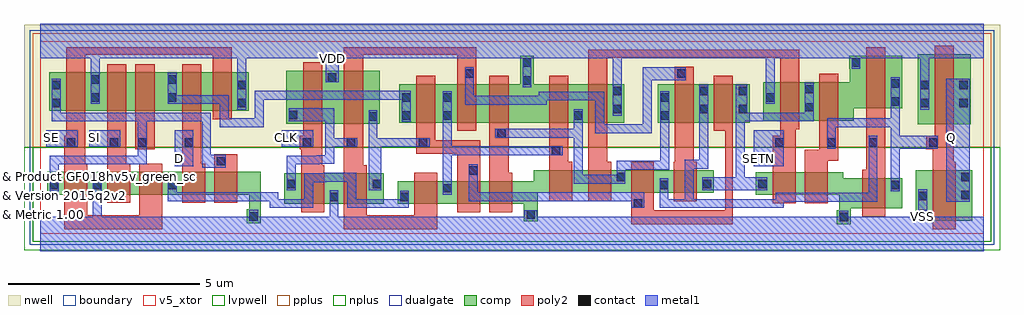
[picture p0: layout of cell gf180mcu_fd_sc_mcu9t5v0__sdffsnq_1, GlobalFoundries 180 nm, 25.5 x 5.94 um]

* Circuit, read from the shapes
.subckt gf180mcu_fd_sc_mcu9t5v0__sdffsnq_1 CLK D Q SE SETN SI VDD VSS
XM1 VSS SE n1 VSUBS nfet_05v0 w=0.59u l=0.6u
XM2 n2 SI VSS VSUBS nfet_05v0 w=0.59u l=0.6u
XM3 n3 SE n2 VSUBS nfet_05v0 w=0.59u l=0.6u
XM4 n4 D n3 VSUBS nfet_05v0 w=0.59u l=0.6u
XM5 VSS n1 n4 VSUBS nfet_05v0 w=0.59u l=0.6u
XM6 VSS CLK n5 VSUBS nfet_05v0 w=0.79u l=0.6u
XM7 n6 n5 VSS VSUBS nfet_05v0 w=0.79u l=0.6u
XM8 n7 n5 n3 VSUBS nfet_05v0 w=0.59u l=0.6u
XM9 n8 n6 n7 VSUBS nfet_05v0 w=0.59u l=0.6u
XM10 VSS n9 n8 VSUBS nfet_05v0 w=0.59u l=0.6u
XM11 n10 n7 VSS VSUBS nfet_05v0 w=0.59u l=0.6u
XM12 n9 SETN n10 VSUBS nfet_05v0 w=0.59u l=0.6u
XM13 n11 n6 n9 VSUBS nfet_05v0 w=0.59u l=0.6u
XM14 n12 n5 n11 VSUBS nfet_05v0 w=0.59u l=0.6u
XM15 n13 SETN n12 VSUBS nfet_05v0 w=0.59u l=0.6u
XM16 VSS n14 n13 VSUBS nfet_05v0 w=0.59u l=0.6u
XM17 n14 n11 VSS VSUBS nfet_05v0 w=0.79u l=0.6u
XM18 Q n14 VSS VSUBS nfet_05v0 w=1.32u l=0.6u
XM19 VDD SE n1 n15 pfet_05v0 w=1u l=0.5u
XM20 n16 SI VDD n15 pfet_05v0 w=1u l=0.5u
XM21 n17 n1 n16 n15 pfet_05v0 w=1u l=0.5u
XM22 n18 D n17 n15 pfet_05v0 w=1u l=0.5u
XM23 VDD SE n18 n15 pfet_05v0 w=1u l=0.5u
XM24 VDD CLK n5 n15 pfet_05v0 w=1.38u l=0.5u
XM25 n6 n5 VDD n15 pfet_05v0 w=1.38u l=0.5u
XM26 n7 n6 n17 n15 pfet_05v0 w=1u l=0.5u
XM27 n19 n5 n7 n15 pfet_05v0 w=1u l=0.5u
XM28 VDD n9 n19 n15 pfet_05v0 w=1u l=0.5u
XM29 n9 n7 VDD n15 pfet_05v0 w=1u l=0.5u
XM30 VDD SETN n9 n15 pfet_05v0 w=1u l=0.5u
XM31 n11 n5 n9 n15 pfet_05v0 w=1u l=0.5u
XM32 n12 n6 n11 n15 pfet_05v0 w=1u l=0.5u
XM33 n12 SETN VDD n15 pfet_05v0 w=1u l=0.5u
XM34 VDD n14 n12 n15 pfet_05v0 w=1u l=0.5u
XM35 n14 n11 VDD n15 pfet_05v0 w=1.38u l=0.5u
XM36 Q n14 VDD n15 pfet_05v0 w=1.83u l=0.5u
.ends

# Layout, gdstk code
import gdstk
lib = gdstk.Library(unit=1e-6, precision=1e-09)
def R(c, l, rs):  # rectangles x0, y0, x1, y1
    for r in rs: c.add(gdstk.rectangle(r[:2], r[2:], *l))
def P(c, l, *ps):  # polygons
    for p in ps: c.add(gdstk.Polygon(p, *l))
boundary = (0, 0)
nwell = (21, 0)
comp = (22, 0)
poly2 = (30, 0)
pplus = (31, 0)
nplus = (32, 0)
contact = (33, 0)
metal1 = (34, 0)
dualgate = (55, 0)
v5_xtor = (112, 1)
lvpwell = (204, 0)

gf180mcu_fd_sc_mcu9t5v0_ = lib.new_cell('gf180mcu_fd_sc_mcu9t5v0__sdffsnq_1')
R(gf180mcu_fd_sc_mcu9t5v0_, boundary, [(0,0,24.64,5.04)])
R(gf180mcu_fd_sc_mcu9t5v0_, nwell, [(-0.43,2.265,25.07,5.47)])
R(gf180mcu_fd_sc_mcu9t5v0_, comp, [(22.87,0.345,24.35,1.665), (6.37,0.79,8.97,1.58), (22.92,2.87,24.3,4.7), (6.42,2.885,8.87,4.265), (16.13,2.91,18.53,3.91), (0.23,3.22,5.44,4.22)])
P(gf180mcu_fd_sc_mcu9t5v0_, comp, [(5.39,0.28),(5.39,0.64),(5.45,0.64),(5.45,1.03),(0.18,1.03),(0.18,1.62),(5.75,1.62),(5.75,0.28)],
  [(9.38,2.91),(9.38,3.91),(12.53,3.91),(12.53,4.655),(12.89,4.655),(12.89,3.91),(15.25,3.91),(15.25,2.91)],
  [(12.63,0.33),(12.63,0.785),(9.33,0.785),(9.33,1.375),(12.89,1.375),(12.89,1.665),(17.59,1.665),(17.59,1.075),(12.99,1.075),(12.99,0.33)],
  [(20.81,0.26),(20.81,0.62),(20.87,0.62),(20.87,1.02),(18.69,1.02),(18.69,1.61),(20.97,1.61),(20.97,1.46),(22.51,1.46),(22.51,0.67),(21.17,0.67),(21.17,0.26)],
  [(18.89,2.96),(18.89,3.96),(21.15,3.96),(21.15,4.32),(21.13,4.32),(21.13,4.66),(22.51,4.66),(22.51,3.28),(21.25,3.28),(21.25,2.96)])
R(gf180mcu_fd_sc_mcu9t5v0_, poly2, [(4.54,0.81,5.14,2.08), (2.48,2.21,2.98,4.44)])
P(gf180mcu_fd_sc_mcu9t5v0_, poly2, [(1.74,0.81),(1.74,4.44),(2.24,4.44),(2.24,1.84),(2.34,1.84),(2.34,0.81)],
  [(3.7,0.81),(3.7,4.44),(4.2,4.44),(4.2,1.84),(4.3,1.84),(4.3,0.81)],
  [(0.62,0.125),(0.62,2.57),(0.67,2.57),(0.67,4.88),(5,4.88),(5,3),(4.5,3),(4.5,4.68),(1.17,4.68),(1.17,1.84),(1.22,1.84),(1.22,0.485),(2.58,0.485),(2.58,1.84),(3.18,1.84),(3.18,0.125)],
  [(6.81,0.57),(6.81,2.21),(6.78,2.21),(6.78,2.57),(6.86,2.57),(6.86,4.485),(7.36,4.485),(7.36,1.8),(7.41,1.8),(7.41,0.57)],
  [(7.93,0.125),(7.93,4.88),(11.39,4.88),(11.39,2.69),(10.89,2.69),(10.89,4.68),(8.43,4.68),(8.43,1.8),(8.53,1.8),(8.53,0.485),(9.77,0.485),(9.77,1.595),(10.37,1.595),(10.37,0.125)],
  [(10.89,0.565),(10.89,2.09),(9.82,2.09),(9.82,4.13),(10.32,4.13),(10.32,2.45),(11.49,2.45),(11.49,0.565)],
  [(11.73,0.565),(11.73,4.13),(12.23,4.13),(12.23,1.595),(12.33,1.595),(12.33,0.565)],
  [(13.29,0.855),(13.29,4.13),(13.79,4.13),(13.79,1.885),(13.89,1.885),(13.89,0.855)],
  [(16.55,0.855),(16.55,1.885),(16.57,1.885),(16.57,4.37),(17.07,4.37),(17.07,1.885),(17.15,1.885),(17.15,0.855)],
  [(15.43,0.255),(15.43,1.885),(16.03,1.885),(16.03,0.615),(17.89,0.615),(17.89,2.69),(17.59,2.69),(17.59,4.13),(18.09,4.13),(18.09,0.255)],
  [(19.13,0.8),(19.13,2.57),(19.33,2.57),(19.33,4.61),(14.81,4.61),(14.81,1.885),(14.91,1.885),(14.91,0.855),(14.31,0.855),(14.31,4.81),(19.83,4.81),(19.83,2.74),(19.73,2.74),(19.73,0.8)],
  [(19.97,0.8),(19.97,2.195),(20.35,2.195),(20.35,4.18),(20.85,4.18),(20.85,1.91),(20.57,1.91),(20.57,0.8)],
  [(21.47,0.45),(21.47,1.68),(21.57,1.68),(21.57,4.88),(22.07,4.88),(22.07,0.45)],
  [(23.31,0.125),(23.31,2.21),(23.145,2.21),(23.145,2.57),(23.36,2.57),(23.36,4.92),(23.86,4.92),(23.86,1.885),(23.91,1.885),(23.91,0.125)])
R(gf180mcu_fd_sc_mcu9t5v0_, pplus, [(-0.2,2.265,24.84,5.24)])
R(gf180mcu_fd_sc_mcu9t5v0_, nplus, [(-0.2,-0.2,24.84,2.265)])
R(gf180mcu_fd_sc_mcu9t5v0_, contact, [(20.88,0.33,21.1,0.55), (5.46,0.35,5.68,0.57), (12.7,0.4,12.92,0.62), (22.94,0.415,23.16,0.635), (15.5,0.685,15.72,0.905), (9.4,0.855,9.62,1.075), (7.56,0.86,7.78,1.08), (22.94,0.885,23.16,1.105), (24.06,0.905,24.28,1.125), (10.52,1.085,10.74,1.305), (0.25,1.17,0.47,1.39), (1.37,1.17,1.59,1.39), (3.33,1.17,3.55,1.39), (16.18,1.17,16.4,1.39), (22.22,1.17,22.44,1.39), (6.44,1.2,6.66,1.42), (8.68,1.2,8.9,1.42), (17.3,1.2,17.52,1.42), (18.76,1.2,18.98,1.42), (15.06,1.375,15.28,1.595), (24.06,1.375,24.28,1.595), (11.2,1.545,11.42,1.765), (4.61,1.79,4.83,2.01), (13.36,2.06,13.58,2.28), (0.69,2.28,0.91,2.5), (1.81,2.28,2.03,2.5), (2.55,2.28,2.77,2.5), (3.77,2.28,3.99,2.5), (6.85,2.28,7.07,2.5), (8,2.28,8.22,2.5), (9.89,2.28,10.11,2.5), (19.2,2.28,19.42,2.5), (20.56,2.28,20.78,2.5), (21.64,2.28,21.86,2.5), (23.215,2.28,23.435,2.5), (11.94,2.52,12.16,2.74), (8.58,2.955,8.8,3.175), (10.52,2.98,10.74,3.2), (13.94,2.98,14.16,3.2), (16.2,2.98,16.42,3.2), (9.45,2.99,9.67,3.21), (6.49,3,6.71,3.22), (14.96,3.15,15.18,3.37), (17.22,3.15,17.44,3.37), (18.24,3.15,18.46,3.37), (19.98,3.2,20.2,3.42), (0.3,3.31,0.52,3.53), (5.15,3.31,5.37,3.53), (22.99,3.31,23.21,3.53), (24.01,3.31,24.23,3.53), (22.22,3.35,22.44,3.57), (10.52,3.45,10.74,3.67), (16.2,3.45,16.42,3.67), (1.32,3.46,1.54,3.68), (3.33,3.46,3.55,3.68), (9.45,3.46,9.67,3.68), (18.96,3.46,19.18,3.68), (14.96,3.62,15.18,3.84), (17.22,3.62,17.44,3.84), (18.24,3.62,18.46,3.84), (19.98,3.67,20.2,3.89), (0.3,3.78,0.52,4), (5.15,3.78,5.37,4), (22.99,3.78,23.21,4), (24.01,3.78,24.23,4), (22.22,3.82,22.44,4.04), (12.6,3.895,12.82,4.115), (1.32,3.93,1.54,4.15), (3.33,3.93,3.55,4.15), (7.51,3.975,7.73,4.195), (11.1,4.08,11.32,4.3), (16.64,4.08,16.86,4.3), (12.6,4.365,12.82,4.585), (21.2,4.37,21.42,4.59)])
R(gf180mcu_fd_sc_mcu9t5v0_, metal1, [(23.67,0.845,24.285,4.06), (3.51,1.77,3.995,2.71), (18.63,1.77,19.425,2.71), (0.15,2.275,0.97,2.71), (1.27,2.275,2.09,2.71), (6.31,2.275,7.13,2.71)])
P(gf180mcu_fd_sc_mcu9t5v0_, metal1, [(0.245,1.11),(0.245,2.045),(2.545,2.045),(2.545,2.94),(0.295,2.94),(0.295,4.06),(0.525,4.06),(0.525,3.17),(4.455,3.17),(4.455,2.07),(4.835,2.07),(4.835,1.73),(4.225,1.73),(4.225,2.94),(2.775,2.94),(2.775,1.815),(0.475,1.815),(0.475,1.11)],
  [(6.435,1.14),(6.435,2.045),(7.215,2.045),(7.215,2.06),(7.445,2.06),(7.445,2.94),(6.485,2.94),(6.485,3.28),(7.675,3.28),(7.675,2.505),(8.28,2.505),(8.28,2.275),(7.675,2.275),(7.675,1.83),(7.3,1.83),(7.3,1.815),(6.665,1.815),(6.665,1.14)],
  [(5.985,0.68),(5.985,0.86),(3.325,0.86),(3.325,1.45),(3.555,1.45),(3.555,1.09),(6.21,1.09),(6.21,0.91),(6.895,0.91),(6.895,1.585),(7.385,1.585),(7.385,1.6),(8.245,1.6),(8.245,0.91),(9.395,0.91),(9.395,1.135),(9.625,1.135),(9.625,0.68),(8.015,0.68),(8.015,1.37),(7.47,1.37),(7.47,1.355),(7.125,1.355),(7.125,0.68)],
  [(4.685,2.79),(4.685,3.4),(3.325,3.4),(3.325,4.21),(3.555,4.21),(3.555,3.63),(4.915,3.63),(4.915,3.02),(5.605,3.02),(5.605,3.74),(9.675,3.74),(9.675,2.93),(9.445,2.93),(9.445,3.51),(5.835,3.51),(5.835,2.79)],
  [(8.575,1.14),(8.575,3.235),(8.805,3.235),(8.805,2.505),(10.17,2.505),(10.17,2.275),(8.905,2.275),(8.905,1.14)],
  [(10.515,1.025),(10.515,3.73),(10.745,3.73),(10.745,2.285),(13.64,2.285),(13.64,2.055),(10.745,2.055),(10.745,1.025)],
  [(15.44,0.68),(15.44,0.855),(11.195,0.855),(11.195,1.825),(11.425,1.825),(11.425,1.085),(15.78,1.085),(15.78,0.68)],
  [(13.935,1.315),(13.935,2.515),(11.88,2.515),(11.88,2.745),(13.935,2.745),(13.935,3.26),(14.165,3.26),(14.165,1.545),(15.055,1.545),(15.055,1.91),(16.195,1.91),(16.195,3.73),(16.425,3.73),(16.425,1.68),(15.285,1.68),(15.285,1.315)],
  [(14.495,2.63),(14.495,3.49),(13.225,3.49),(13.225,3.375),(11.095,3.375),(11.095,4.36),(11.325,4.36),(11.325,3.605),(13.025,3.605),(13.025,3.72),(14.725,3.72),(14.725,2.86),(15.735,2.86),(15.735,4.36),(16.865,4.36),(16.865,4.02),(15.965,4.02),(15.965,2.63)],
  [(17.295,1.14),(17.295,1.48),(18.17,1.48),(18.17,3.9),(18.465,3.9),(18.465,3.17),(19.975,3.17),(19.975,3.95),(20.205,3.95),(20.205,2.94),(18.4,2.94),(18.4,1.48),(18.985,1.48),(18.985,1.14)],
  [(16.175,0.68),(16.175,1.45),(16.405,1.45),(16.405,0.91),(16.835,0.91),(16.835,1.94),(17.215,1.94),(17.215,3.9),(17.445,3.9),(17.445,1.71),(17.065,1.71),(17.065,0.91),(19.205,0.91),(19.205,1.07),(21.635,1.07),(21.635,2.56),(21.865,2.56),(21.865,0.84),(19.425,0.84),(19.425,0.68)],
  [(22.215,1.11),(22.215,2.79),(20.785,2.79),(20.785,2.22),(20.555,2.22),(20.555,3.02),(22.215,3.02),(22.215,4.1),(22.445,4.1),(22.445,2.56),(23.44,2.56),(23.44,2.22),(22.445,2.22),(22.445,1.11)],
  [(0,-0.45),(0,0.45),(1.365,0.45),(1.365,1.45),(1.595,1.45),(1.595,0.45),(5.455,0.45),(5.455,0.63),(5.685,0.63),(5.685,0.45),(7.555,0.45),(7.555,1.14),(7.785,1.14),(7.785,0.45),(12.64,0.45),(12.64,0.625),(12.98,0.625),(12.98,0.45),(20.875,0.45),(20.875,0.61),(21.105,0.61),(21.105,0.45),(22.935,0.45),(22.935,1.165),(23.165,1.165),(23.165,0.45),(24.64,0.45),(24.64,-0.45)],
  [(14.955,3.09),(14.955,4.59),(12.825,4.59),(12.825,3.835),(12.595,3.835),(12.595,4.59),(7.79,4.59),(7.79,3.97),(7.45,3.97),(7.45,4.59),(5.375,4.59),(5.375,3.25),(5.145,3.25),(5.145,4.59),(1.545,4.59),(1.545,3.4),(1.315,3.4),(1.315,4.59),(0,4.59),(0,5.49),(24.64,5.49),(24.64,4.59),(23.215,4.59),(23.215,3.25),(22.985,3.25),(22.985,4.59),(21.425,4.59),(21.425,4.31),(21.195,4.31),(21.195,4.59),(19.185,4.59),(19.185,3.4),(18.955,3.4),(18.955,4.59),(15.185,4.59),(15.185,3.09)])
R(gf180mcu_fd_sc_mcu9t5v0_, dualgate, [(-0.28,-0.28,24.92,5.32)])
R(gf180mcu_fd_sc_mcu9t5v0_, v5_xtor, [(0,0,24.64,5.04)])
R(gf180mcu_fd_sc_mcu9t5v0_, lvpwell, [(-0.43,-0.43,25.07,2.265)])
gf180mcu_fd_sc_mcu9t5v0_.add(gdstk.Label('CLK', (6.44,2.52), layer=34, texttype=10))
gf180mcu_fd_sc_mcu9t5v0_.add(gdstk.Label('D', (3.64,1.96), layer=34, texttype=10))
gf180mcu_fd_sc_mcu9t5v0_.add(gdstk.Label('Q', (23.8,2.52), layer=34, texttype=10))
gf180mcu_fd_sc_mcu9t5v0_.add(gdstk.Label('SE', (0.28,2.52), layer=34, texttype=10))
gf180mcu_fd_sc_mcu9t5v0_.add(gdstk.Label('SETN', (18.76,1.96), layer=34, texttype=10))
gf180mcu_fd_sc_mcu9t5v0_.add(gdstk.Label('SI', (1.4,2.52), layer=34, texttype=10))
gf180mcu_fd_sc_mcu9t5v0_.add(gdstk.Label('VDD', (7.62,4.59), layer=34, texttype=10))
gf180mcu_fd_sc_mcu9t5v0_.add(gdstk.Label('VSS', (23.05,0.45), layer=34, texttype=10))
gf180mcu_fd_sc_mcu9t5v0_.add(gdstk.Label('& Vendor GLOBALFOUNDRIES', (0,2), layer=63, texttype=63))
gf180mcu_fd_sc_mcu9t5v0_.add(gdstk.Label('& Product GF018hv5v_green_sc9', (0,1.5), layer=63, texttype=63))
gf180mcu_fd_sc_mcu9t5v0_.add(gdstk.Label('& Version 2015q2v2', (0,1), layer=63, texttype=63))
gf180mcu_fd_sc_mcu9t5v0_.add(gdstk.Label('& Metric 1.00', (0,0.5), layer=63, texttype=63))

lib.write_gds('gf180mcu_fd_sc_mcu9t5v0__sdffsnq_1.gds')
